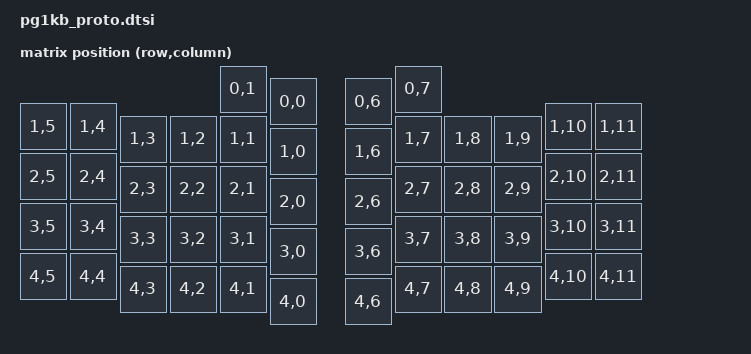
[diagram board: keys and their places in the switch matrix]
#include <dt-bindings/zmk/matrix_transform.h>
#include <physical_layouts.dtsi>

/ {
    chosen {
        zmk,kscan = &kscan0;
        zmk,physical-layout = &pg1kb_proto_physical_layout;
    };

    splits {
        #address-cells = <1>;
        #size-cells = <0>;

        left_trackball_input: left_trackball_input@0 {
            compatible = "zmk,input-split";
            reg = <0>;
        };
    };

    left_trackball_listener: left_trackball_listener {
        compatible = "zmk,input-listener";
        status = "disabled";
        device = <&left_trackball_input>;
    };

    right_trackball_listener: right_trackball_listener {
        compatible = "zmk,input-listener";
        status = "disabled";
        device = <&trackball>;
    };

    /*
     * scroll-inertia は split peripheral ではコンパイルできない central 専用プロセッサ。
     * ただし keymap は左右共通で読むため、左手ビルドでも &scroll_inertia_* のラベル自体は
     * 解決できる必要がある。ここでは disabled で共有定義し、右手 overlay だけで okay にする。
     *
     * axis = <0> は両軸フリー。現在の zip_xy_to_scroll_mapper は縦横同時の 2D スクロールを
     * 流すため、軸ロックはかけない。
     *
     * 左ボール Base は専用スクロールレイヤーではなく listener のデフォルトチェーンなので、
     * layer は省略して -1 相当とする。このため Base でフリック直後に Sym へ切り替えると、
     * 慣性は gesture-timeout / 自然減衰 / span で止まるまで流れ続ける。
     *
     * stop は README の式「出力頻度(Hz) ≒ stop * scale * 125 / scale-div」から、
     * スムーススクロール時の 16 単位 = 1 ノッチ換算で切れ際が約 3.9 ノッチ/s に揃う値。
     * デフォルト stop = 7 では 1/2 チェーンで約 13.7 ノッチ/s になり、手前で止まりすぎる。
     *
     * 発動条件（start / move / min-events）はデフォルトだと強めに弾かないと慣性が
     * 乗らなかったので下げている。3 ノードとも zip_xy_to_scroll_mapper の直後で
     * スケール前の生の値を見るため、しきい値は共通で問題ない。
     *   start      40 →  25  ピーク速度のしきい値（弾く強さ）
     *   move       80 →  50  ジェスチャー内の累積移動量（振り幅）
     *   min-events 10 →   6  アームに必要なイベント数。125Hz なので 10 だと 80ms 以上
     *                        ボールを回し続ける必要があり、短いフリックが弾かれていた
     * 逆に軽く触っただけで慣性が乗るようなら、この 3 つを戻す方向に上げる。
     */
    scroll_inertia_left_base: scroll_inertia_left_base {
        compatible = "zmk,input-processor-scroll-inertia";
        #input-processor-cells = <0>;
        status = "disabled";
        axis = <0>;
        scale = <1>;
        scale-div = <2>;
        stop = <2>;
        start = <25>;
        move = <50>;
        min-events = <6>;
    };

    scroll_inertia_left_sym: scroll_inertia_left_sym {
        compatible = "zmk,input-processor-scroll-inertia";
        #input-processor-cells = <0>;
        status = "disabled";
        axis = <0>;
        layer = <2>;
        scale = <1>;
        scale-div = <6>;
        stop = <3>;
        start = <25>;
        move = <50>;
        min-events = <6>;
    };

    scroll_inertia_right_sym: scroll_inertia_right_sym {
        compatible = "zmk,input-processor-scroll-inertia";
        #input-processor-cells = <0>;
        status = "disabled";
        axis = <0>;
        layer = <2>;
        scale = <1>;
        scale-div = <2>;
        stop = <2>;
        start = <25>;
        move = <50>;
        min-events = <6>;
    };

    pg1kb_proto_physical_layout: physical_layout_0 {
        compatible = "zmk,physical-layout";
        display-name = "Default 5x12 Split Layout";
        kscan = <&kscan0>;
        transform = <&default_transform>;

        keys  //                     w   h    x    y     rot    rx    ry
            = <&key_physical_attrs 100 100    0   75       0     0     0>
            , <&key_physical_attrs 100 100  100   75       0     0     0>
            , <&key_physical_attrs 100 100  400    0       0     0     0>
            , <&key_physical_attrs 100 100  500   25       0     0     0>
            , <&key_physical_attrs 100 100  650   25       0     0     0>
            , <&key_physical_attrs 100 100  750    0       0     0     0>
            , <&key_physical_attrs 100 100 1050   75       0     0     0>
            , <&key_physical_attrs 100 100 1150   75       0     0     0>
            , <&key_physical_attrs 100 100    0  175       0     0     0>
            , <&key_physical_attrs 100 100  100  175       0     0     0>
            , <&key_physical_attrs 100 100  200  100       0     0     0>
            , <&key_physical_attrs 100 100  300  100       0     0     0>
            , <&key_physical_attrs 100 100  400  100       0     0     0>
            , <&key_physical_attrs 100 100  500  125       0     0     0>
            , <&key_physical_attrs 100 100  650  125       0     0     0>
            , <&key_physical_attrs 100 100  750  100       0     0     0>
            , <&key_physical_attrs 100 100  850  100       0     0     0>
            , <&key_physical_attrs 100 100  950  100       0     0     0>
            , <&key_physical_attrs 100 100 1050  175       0     0     0>
            , <&key_physical_attrs 100 100 1150  175       0     0     0>
            , <&key_physical_attrs 100 100    0  275       0     0     0>
            , <&key_physical_attrs 100 100  100  275       0     0     0>
            , <&key_physical_attrs 100 100  200  200       0     0     0>
            , <&key_physical_attrs 100 100  300  200       0     0     0>
            , <&key_physical_attrs 100 100  400  200       0     0     0>
            , <&key_physical_attrs 100 100  500  225       0     0     0>
            , <&key_physical_attrs 100 100  650  225       0     0     0>
            , <&key_physical_attrs 100 100  750  200       0     0     0>
            , <&key_physical_attrs 100 100  850  200       0     0     0>
            , <&key_physical_attrs 100 100  950  200       0     0     0>
            , <&key_physical_attrs 100 100 1050  275       0     0     0>
            , <&key_physical_attrs 100 100 1150  275       0     0     0>
            , <&key_physical_attrs 100 100    0  375       0     0     0>
            , <&key_physical_attrs 100 100  100  375       0     0     0>
            , <&key_physical_attrs 100 100  200  300       0     0     0>
            , <&key_physical_attrs 100 100  300  300       0     0     0>
            , <&key_physical_attrs 100 100  400  300       0     0     0>
            , <&key_physical_attrs 100 100  500  325       0     0     0>
            , <&key_physical_attrs 100 100  650  325       0     0     0>
            , <&key_physical_attrs 100 100  750  300       0     0     0>
            , <&key_physical_attrs 100 100  850  300       0     0     0>
            , <&key_physical_attrs 100 100  950  300       0     0     0>
            , <&key_physical_attrs 100 100 1050  375       0     0     0>
            , <&key_physical_attrs 100 100 1150  375       0     0     0>
            , <&key_physical_attrs 100 100  200  400       0     0     0>
            , <&key_physical_attrs 100 100  300  400       0     0     0>
            , <&key_physical_attrs 100 100  400  400       0     0     0>
            , <&key_physical_attrs 100 100  500  425       0     0     0>
            , <&key_physical_attrs 100 100  650  425       0     0     0>
            , <&key_physical_attrs 100 100  750  400       0     0     0>
            , <&key_physical_attrs 100 100  850  400       0     0     0>
            , <&key_physical_attrs 100 100  950  400       0     0     0>
            ;
    };

    default_transform: keymap_transform_0 {
        compatible = "zmk,matrix-transform";
        columns = <12>;
        rows = <5>;
        map = <
            RC(1,5) RC(1,4)                 RC(0,1) RC(0,0)         RC(0,6) RC(0,7)                 RC(1,10) RC(1,11)
            RC(2,5) RC(2,4) RC(1,3) RC(1,2) RC(1,1) RC(1,0)         RC(1,6) RC(1,7) RC(1,8) RC(1,9) RC(2,10) RC(2,11)
            RC(3,5) RC(3,4) RC(2,3) RC(2,2) RC(2,1) RC(2,0)         RC(2,6) RC(2,7) RC(2,8) RC(2,9) RC(3,10) RC(3,11)
            RC(4,5) RC(4,4) RC(3,3) RC(3,2) RC(3,1) RC(3,0)         RC(3,6) RC(3,7) RC(3,8) RC(3,9) RC(4,10) RC(4,11)
                            RC(4,3) RC(4,2) RC(4,1) RC(4,0)         RC(4,6) RC(4,7) RC(4,8) RC(4,9)
        >;
    };

    kscan0: kscan {
        compatible = "zmk,kscan-gpio-matrix";
        diode-direction = "col2row";
        wakeup-source;
        debounce-press-ms = <5>;
        debounce-release-ms = <5>;
    };
};

&spi0 {
    trackball: trackball@0 {
        status = "disabled";
        reg = <0>;
        spi-max-frequency = <2000000>;
    };
};
